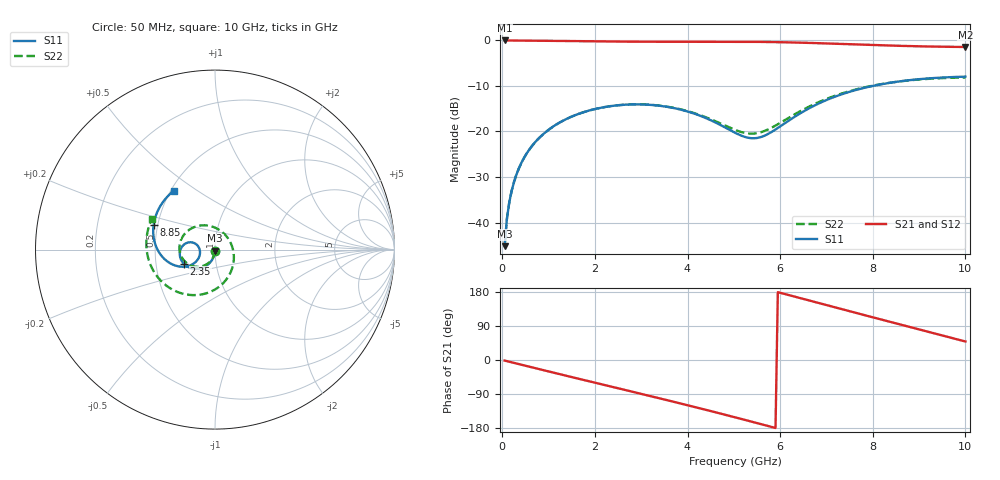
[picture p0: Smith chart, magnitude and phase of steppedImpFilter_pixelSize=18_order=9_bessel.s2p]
! freq	dB(S11)	phase(S11)	dB(S12)	phase(S12)
!  dB(S21)	phase(S21)	dB(S22)	phase(S22)
!S-par simulation data
#  GHz  S  DB  R 50
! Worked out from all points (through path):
!   200 points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, 50 MHz to 10 GHz, reference 50 ohm
!   highest |S21| = -0.01 dB at 50 MHz (marker M1); lowest = -1.4 dB at 10 GHz (marker M2)
!   group delay of S21, straight-line fit = 86.6 ps
!   lowest |S11| = -45.2 dB at 50 MHz (marker M3), VSWR 1.01, Z = 50 - j0.55 ohm
!   |S11| at or under -10 dB: start of sweep to 7.996 GHz
!   |S22| runs from -45.1 to -8.1 dB; largest |S21 - S12| = 0
!   S11 on the Smith chart (normalised r, x): 50 MHz: 1.00, -0.01; 2.35 GHz: 0.70, -0.12; 8.85 GHz: 0.47, +0.15; 10 GHz: 0.52, +0.41
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0.05  -45.19 -91.3  -0.01 -1.6  -0.01 -1.6  -45.14 -91.4
0.1  -39.15 -93.0  -0.01 -3.1  -0.01 -3.1  -39.12 -93.3
0.2  -33.12 -96.0  -0.01 -6.1  -0.01 -6.1  -33.12 -96.7
0.35  -28.29 -100.3  -0.02 -10.6  -0.02 -10.6  -28.30 -101.8
0.5  -25.25 -104.6  -0.03 -15.2  -0.03 -15.2  -25.27 -106.8
0.7  -22.45 -110.3  -0.05 -21.2  -0.05 -21.2  -22.47 -113.4
1  -19.62 -118.8  -0.08 -30.2  -0.08 -30.2  -19.63 -123.2
1.75  -15.78 -139.4  -0.17 -52.5  -0.17 -52.5  -15.78 -147.6
2.35  -14.42 -155.2  -0.24 -70.2  -0.24 -70.2  -14.41 -167.4
2.9  -14.04 -168.9  -0.28 -86.4  -0.28 -86.4  -14.03 173.7
3.4  -14.35 179.5  -0.29 -101.2  -0.29 -101.2  -14.32 155.2
4.2  -16.27 165.0  -0.28 -125.4  -0.28 -125.4  -16.14 120.3
5.05  -20.40 169.0  -0.28 -152.0  -0.28 -152.0  -19.74 62.2
5.35  -21.44 -177.8  -0.30 -161.6  -0.30 -161.6  -20.46 31.5
5.6  -21.17 -164.0  -0.32 -169.6  -0.32 -169.6  -20.11 4.1
6.15  -17.85 -147.5  -0.42 172.5  -0.42 172.5  -17.20 -44.9
6.7  -14.51 -149.9  -0.56 154.6  -0.56 154.6  -14.16 -78.0
7.55  -11.13 -167.2  -0.85 127.1  -0.85 127.1  -10.99 -115.9
8.35  -9.33 171.9  -1.12 101.5  -1.12 101.5  -9.32 -146.3
8.85  -8.66 157.9  -1.26 85.6  -1.26 85.6  -8.71 -164.4
9.4  -8.20 142.2  -1.37 68.1  -1.37 68.1  -8.32 175.8
10  -7.95 124.7  -1.43 48.8  -1.43 48.8  -8.14 153.9
